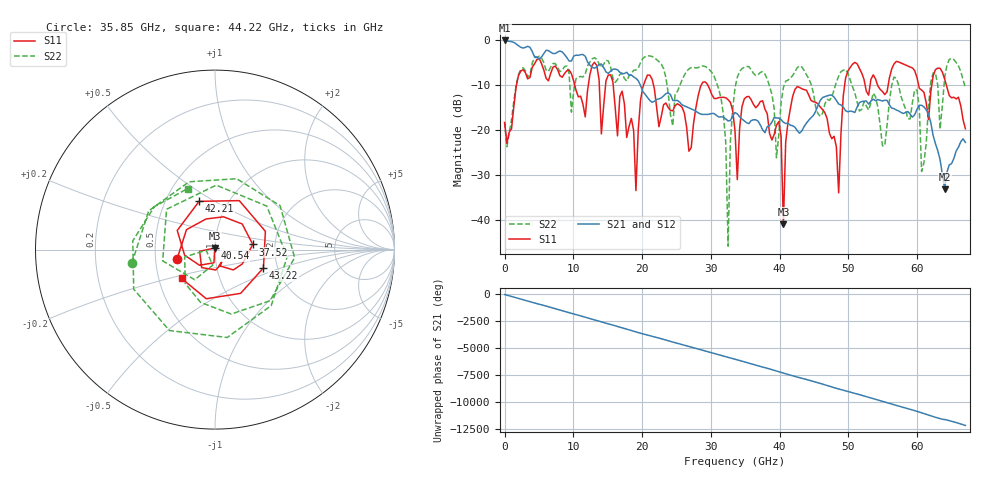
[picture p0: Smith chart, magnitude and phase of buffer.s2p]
!Keysight Technologies,N5247B,US55470547,A.17.35.10
!Date: Thursday, May 02, 2024 13:56:01
!Correction: S11(C  2-Port  )
!S21(C  2-Port  )
!S12(C  2-Port  )
!S22(C  2-Port  )
!S2P File: Measurements: S11, S21, S12, S22:
# Hz S  dB  R 50
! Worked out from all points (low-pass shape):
!   201 points, 10 MHz to 67 GHz, reference 50 ohm
!   highest |S21| = -0.09 dB at 10 MHz (marker M1); lowest = -33.0 dB at 63.99 GHz (marker M2)
!   |S21| within 3 dB of the highest: start of sweep to 4.186 GHz; 5.667 GHz to 8.648 GHz (2.98 GHz wide, 41.6 % of centre)
!   lowest |S11| = -40.9 dB at 40.54 GHz (marker M3), VSWR 1.02, Z = 49.9 + j0.89 ohm
!   |S11| at or under -10 dB: 15.8 GHz to 20.21 GHz (4.413 GHz wide, 24.5 % of centre); 21.66 GHz to 28.6 GHz (6.938 GHz wide, 27.6 % of centre); 29.55 GHz to 49.45 GHz (19.9 GHz wide, 50.4 % of centre)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
!   |S22| runs from -45.7 to -3.5 dB; largest |S21 - S12| = 0.002
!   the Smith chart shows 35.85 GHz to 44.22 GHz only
!   S11 on the Smith chart (normalised r, x): 35.85 GHz: 0.65, -0.07; 37.52 GHz: 1.53, +0.09; 40.54 GHz: 1.00, +0.02; 42.21 GHz: 0.73, +0.43; 43.22 GHz: 1.69, -0.38; 44.22 GHz: 0.66, -0.22
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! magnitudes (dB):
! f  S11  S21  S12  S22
! 10 MHz  -18.3  -0.1  -0.1  -18.2
! 11.4 GHz  -14.2  -3.2  -3.2  -8.2
! 19.1 GHz  -33.4  -8.5  -8.5  -6.6
! 22.45 GHz  -19.2  -13.0  -13.0  -4.8
! 30.83 GHz  -12.9  -16.7  -16.7  -9.4
! 32.5 GHz  -13.2  -17.9  -17.9  -45.7
! 33.51 GHz  -20.1  -16.1  -16.0  -10.6
! 35.85 GHz  -13.2  -17.9  -17.8  -6.6
! 37.52 GHz  -13.5  -19.9  -19.9  -7.0
! 39.53 GHz  -18.9  -17.2  -17.2  -26.1
! 40.54 GHz  -40.9  -18.2  -18.2  -10.5
! 42.21 GHz  -11.0  -19.3  -19.3  -7.1
! 43.22 GHz  -10.8  -20.2  -20.2  -6.0
! 44.22 GHz  -12.2  -17.8  -17.8  -8.6
! 44.89 GHz  -13.7  -16.7  -16.7  -11.7
! 48.58 GHz  -33.9  -14.2  -14.2  -8.0
! 49.92 GHz  -6.9  -15.9  -15.9  -7.3
! 55.95 GHz  -8.4  -14.3  -14.3  -13.6
! 59.97 GHz  -8.3  -15.4  -15.3  -11.1
! 60.64 GHz  -11.1  -14.5  -14.4  -29.1
! 63.99 GHz  -8.6  -33.0  -33.0  -8.3
! 67 GHz  -19.7  -22.7  -22.7  -10.5
